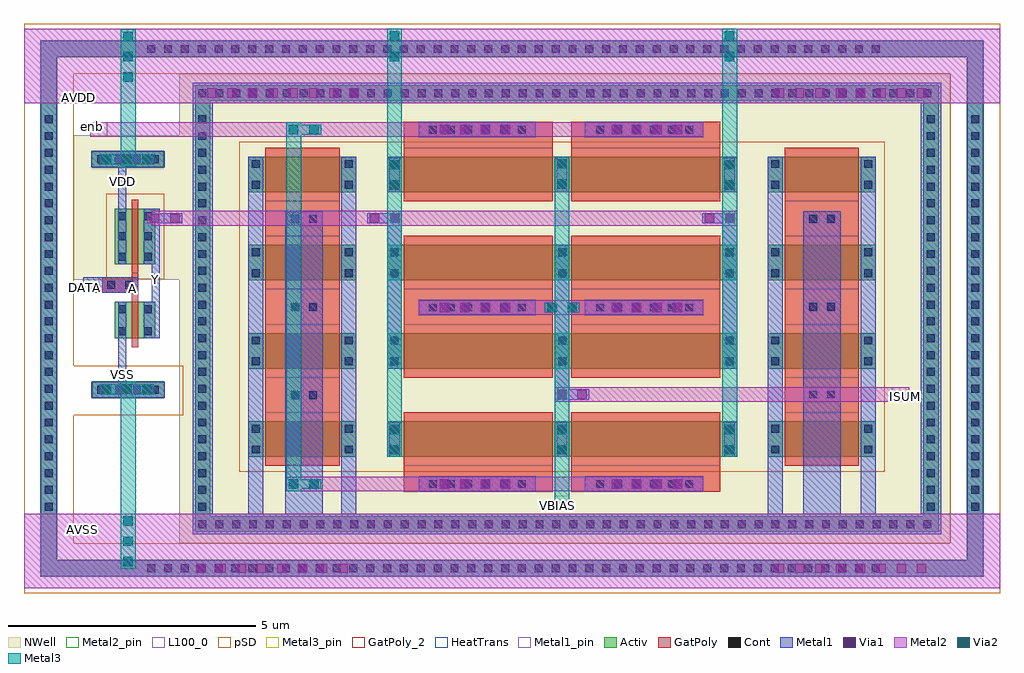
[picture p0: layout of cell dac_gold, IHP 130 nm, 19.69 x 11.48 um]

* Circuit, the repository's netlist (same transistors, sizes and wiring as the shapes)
** sch_path: /home/designer/shared/BASIC/current_generator/analog/DAC/schematics/dac_gold.sch
.subckt dac_gold AVDD AVSS VBIAS enb DATA ISUM
*.PININFO AVDD:B AVSS:B VBIAS:B enb:B DATA:B ISUM:B
MM1 ISUM VBIAS VS_cm AVDD sg13_lv_pmos w=0.72u l=3u ng=1 m=4
MM2 VBIAS enb AVDD AVDD sg13_lv_pmos w=0.72u l=3u ng=1 m=4
MM3 AVDD AVDD AVDD AVDD sg13_lv_pmos w=0.72u l=1.5u ng=1 m=8
x20 DATA VS_cm AVDD AVSS inverter
.ends

* expanding   symbol:  inverter.sym # of pins=4
** sym_path: /home/designer/shared/BASIC/current_generator/analog/DAC/schematics/inverter.sym
** sch_path: /home/designer/shared/BASIC/current_generator/analog/DAC/schematics/inverter.sch
.subckt inverter A Y VDD VSS
*.PININFO Y:O A:I VDD:B VSS:B
MMN0 Y A VSS VSS sg13_lv_nmos w=740.00n l=130.00n ng=1
MMP0 Y A VDD VDD sg13_lv_pmos w=1.12u l=130.00n ng=1
.ends

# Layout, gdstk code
import gdstk
lib = gdstk.Library(unit=1e-6, precision=1e-09)
def R(c, l, rs):  # rectangles x0, y0, x1, y1
    for r in rs: c.add(gdstk.rectangle(r[:2], r[2:], *l))
def A(c, l, x, y, w, h, nx, ny, dx, dy):  # array of equal rectangles
    R(c, l, [(x+i*dx, y+j*dy, x+i*dx+w, y+j*dy+h) for i in range(nx) for j in range(ny)])
def P(c, l, *ps):  # polygons
    for p in ps: c.add(gdstk.Polygon(p, *l))
Activ = (1, 0)
GatPoly = (5, 0)
GatPoly_2 = (5, 2)
Cont = (6, 0)
Metal1 = (8, 0)
Metal1_pin = (8, 2)
Metal2 = (10, 0)
Metal2_pin = (10, 2)
pSD = (14, 0)
Via1 = (19, 0)
Via2 = (29, 0)
Metal3 = (30, 0)
Metal3_pin = (30, 2)
NWell = (31, 0)
HeatTrans = (51, 0)
L100_0 = (100, 0)

pmos = lib.new_cell('pmos')
R(pmos, Activ, [(0,0,0.3,0.3), (0,0,0.81,1.12), (0.51,0,0.81,0.3)])
R(pmos, GatPoly, [(0.34,-0.18,0.47,1.3), (0.34,-0.18,0.47,1.3)])
A(pmos, Cont, 0.07, 0.07, 0.16, 0.16, 1, 3, 0, 0.41)
A(pmos, Cont, 0.58, 0.07, 0.16, 0.16, 1, 3, 0, 0.41)
R(pmos, Metal1, [(0.07,0,0.23,1.12), (0.07,0,0.23,1.12), (0.58,0,0.74,1.12), (0.58,0,0.74,1.12)])
R(pmos, pSD, [(-0.18,-0.3,0.99,1.42)])
R(pmos, NWell, [(-0.31,-0.31,1.12,1.43)])
R(pmos, HeatTrans, [(0.34,-0.18,0.47,1.3)])
pmos.add(gdstk.Label('pmos', (0.405,0.56), layer=63, texttype=0))
pmos.add(gdstk.Label('pmos', (0.405,0.56), layer=51, texttype=0))

nmos = lib.new_cell('nmos')
R(nmos, Activ, [(0,0,0.3,0.3), (0,0,0.81,0.74), (0.51,0,0.81,0.3)])
R(nmos, GatPoly, [(0.34,-0.18,0.47,0.92)])
R(nmos, GatPoly_2, [(0.34,-0.18,0.47,0.92)])
R(nmos, Cont, [(0.07,0.07,0.23,0.23), (0.58,0.07,0.74,0.23), (0.07,0.51,0.23,0.67), (0.58,0.51,0.74,0.67)])
R(nmos, Metal1, [(0.07,0,0.23,0.74), (0.58,0,0.74,0.74)])
R(nmos, Metal1_pin, [(0.07,0,0.23,0.74), (0.58,0,0.74,0.74)])
R(nmos, HeatTrans, [(0.34,-0.18,0.47,0.92)])
nmos.add(gdstk.Label('nmos', (0.405,0.37), layer=63, texttype=0))
nmos.add(gdstk.Label('nmos', (0.405,0.37), layer=51, texttype=0))

pmos_2 = lib.new_cell('pmos$2')
R(pmos_2, Activ, [(0,0,0.3,0.3), (0,0,3.68,0.72), (3.38,0,3.68,0.3)])
R(pmos_2, GatPoly, [(0.34,-0.18,3.34,0.9), (0.34,-0.18,3.34,0.9)])
R(pmos_2, Cont, [(0.07,0.07,0.23,0.23), (3.45,0.07,3.61,0.23), (0.07,0.49,0.23,0.65), (3.45,0.49,3.61,0.65)])
R(pmos_2, Metal1, [(0.07,0,0.23,0.72), (0.07,0,0.23,0.72), (3.45,0,3.61,0.72), (3.45,0,3.61,0.72)])
R(pmos_2, pSD, [(-0.18,-0.3,3.86,1.02)])
R(pmos_2, NWell, [(-0.31,-0.31,3.99,1.03)])
R(pmos_2, HeatTrans, [(0.34,-0.18,3.34,0.9)])
pmos_2.add(gdstk.Label('pmos', (1.84,0.36), layer=63, texttype=0))
pmos_2.add(gdstk.Label('pmos', (1.84,0.36), layer=51, texttype=0))

via_stack_1 = lib.new_cell('via_stack$1')
R(via_stack_1, Metal1, [(-0.76,-0.105,0.76,0.105)])
R(via_stack_1, Metal2, [(-0.76,-0.1,0.76,0.1)])
A(via_stack_1, Via1, -0.71, -0.095, 0.19, 0.19, 4, 1, 0.41, 0)

pmos_3 = lib.new_cell('pmos$3')
R(pmos_3, Activ, [(0,0,0.3,0.3), (0,0,2.18,0.72), (1.88,0,2.18,0.3)])
R(pmos_3, GatPoly, [(0.34,-0.18,1.84,0.9), (0.34,-0.18,1.84,0.9)])
R(pmos_3, Cont, [(0.07,0.07,0.23,0.23), (1.95,0.07,2.11,0.23), (0.07,0.49,0.23,0.65), (1.95,0.49,2.11,0.65)])
R(pmos_3, Metal1, [(0.07,0,0.23,0.72), (0.07,0,0.23,0.72), (1.95,0,2.11,0.72), (1.95,0,2.11,0.72)])
R(pmos_3, pSD, [(-0.18,-0.3,2.36,1.02)])
R(pmos_3, NWell, [(-0.31,-0.31,2.49,1.03)])
R(pmos_3, HeatTrans, [(0.34,-0.18,1.84,0.9)])
pmos_3.add(gdstk.Label('pmos', (1.09,0.36), layer=63, texttype=0))
pmos_3.add(gdstk.Label('pmos', (1.09,0.36), layer=51, texttype=0))

via_stack_2 = lib.new_cell('via_stack$2')
R(via_stack_2, Metal1, [(-0.35,-0.105,0.35,0.105)])
R(via_stack_2, Metal2, [(-0.35,-0.1,0.35,0.1)])
R(via_stack_2, Via1, [(-0.3,-0.095,-0.11,0.095), (0.11,-0.095,0.3,0.095)])

via_stack_3 = lib.new_cell('via_stack$3')
R(via_stack_3, Metal2, [(-0.35,-0.1,0.35,0.1)])
R(via_stack_3, Via2, [(-0.3,-0.095,-0.11,0.095), (0.11,-0.095,0.3,0.095)])
R(via_stack_3, Metal3, [(-0.35,-0.1,0.35,0.1)])

via_stack = lib.new_cell('via_stack')
R(via_stack, Metal1, [(-0.105,-0.35,0.105,0.35)])
R(via_stack, Metal2, [(-0.1,-0.35,0.1,0.35)])
R(via_stack, Via1, [(-0.095,-0.3,0.095,-0.11), (-0.095,0.11,0.095,0.3)])
R(via_stack, Via2, [(-0.095,-0.3,0.095,-0.11), (-0.095,0.11,0.095,0.3)])
R(via_stack, Metal3, [(-0.1,-0.35,0.1,0.35)])

via_stack_4 = lib.new_cell('via_stack$4')
R(via_stack_4, Metal2, [(-0.1,-0.35,0.1,0.35)])
R(via_stack_4, Via2, [(-0.095,-0.3,0.095,-0.11), (-0.095,0.11,0.095,0.3)])
R(via_stack_4, Metal3, [(-0.1,-0.35,0.1,0.35)])

via_stack_5 = lib.new_cell('via_stack$5')
R(via_stack_5, Metal1, [(-1.58,-0.105,1.58,0.105)])
R(via_stack_5, Metal2, [(-1.58,-0.1,1.58,0.1)])
A(via_stack_5, Via1, -1.53, -0.095, 0.19, 0.19, 8, 1, 0.41, 0)

guard_ring = lib.new_cell('GUARD_RING')
P(guard_ring, Activ, [(0,0),(0,8.69),(0.31,8.69),(0.31,0.31),(14.69,0.31),(14.69,8.69),(0,8.69),(0,9),(15,9),(15,0)])
A(guard_ring, Cont, 0.07, 0.07, 0.16, 0.16, 44, 2, 0.34, 8.69)
A(guard_ring, Cont, 0.07, 0.42, 0.16, 0.16, 1, 24, 0, 0.34)
A(guard_ring, Cont, 14.76, 0.42, 0.16, 0.16, 1, 24, 0, 0.34)
P(guard_ring, Metal1, [(-0.05,-0.05),(-0.05,8.64),(0.36,8.64),(0.36,0.36),(14.64,0.36),(14.64,8.64),(-0.05,8.64),(-0.05,9.05),(15.05,9.05),(15.05,-0.05)])
P(guard_ring, NWell, [(-0.24,-0.24),(-0.24,8.45),(0.55,8.45),(0.55,0.55),(14.45,0.55),(14.45,8.45),(-0.24,8.45),(-0.24,9.24),(15.24,9.24),(15.24,-0.24)])

via_stack_7 = lib.new_cell('via_stack$7')
R(via_stack_7, Metal2, [(-0.1,-0.555,0.1,0.555)])
A(via_stack_7, Via2, -0.095, -0.505, 0.19, 0.19, 1, 3, 0, 0.41)
R(via_stack_7, Metal3, [(-0.1,-0.555,0.1,0.555)])

via_stack_8 = lib.new_cell('via_stack$8')
R(via_stack_8, Metal1, [(-0.555,-0.105,0.555,0.105)])
R(via_stack_8, Metal2, [(-0.555,-0.1,0.555,0.1)])
A(via_stack_8, Via1, -0.505, -0.095, 0.19, 0.19, 3, 1, 0.41, 0)
A(via_stack_8, Via2, -0.505, -0.095, 0.19, 0.19, 3, 1, 0.41, 0)
R(via_stack_8, Metal3, [(-0.555,-0.1,0.555,0.1)])

dac_gold = lib.new_cell('dac_gold')
R(dac_gold, Activ, [(3.97,-1.71,5.42,-1.36), (3.965,2.94,5.415,3.29)])
A(dac_gold, GatPoly, 7.46, -1.99, 1.5, 0.7, 1, 3, 0, 1.78)
A(dac_gold, GatPoly, 17.94, -1.99, 1.5, 0.7, 1, 3, 0, 1.78)
A(dac_gold, GatPoly, 7.88, -1.8, 0.73, 0.31, 1, 3, 0, 1.78)
R(dac_gold, GatPoly, [(10.26,-3.59,13.26,-3.07), (10.56,-3.59,12.92,-3.28), (13.64,-3.59,16.64,-3.07), (13.91,-3.59,16.3,-3.28), (18.33,-1.785,19.06,-1.475), (10.26,-0.21,13.26,0.49), (13.64,-0.21,16.64,0.49), (10.56,-0.03,12.92,0.28), (13.91,-0.03,16.3,0.28), (18.33,-0.015,19.06,0.295), (4.17,0.425,4.9,0.735), (18.33,1.76,19.06,2.07), (10.26,3.35,13.26,3.87), (13.64,3.35,16.64,3.87), (10.56,3.56,12.92,3.87), (13.91,3.56,16.3,3.87)])
R(dac_gold, GatPoly_2, [(4.77,-0.68,4.9,2.3)])
A(dac_gold, Cont, 5.08, -5.215, 0.16, 0.16, 44, 2, 0.34, 10.475)
A(dac_gold, Cont, 3.015, -3.975, 0.16, 0.16, 1, 24, 0, 0.34)
A(dac_gold, Cont, 21.71, -3.975, 0.16, 0.16, 1, 24, 0, 0.34)
A(dac_gold, Cont, 10.76, -3.515, 0.16, 0.16, 6, 2, 0.36, 3.56)
A(dac_gold, Cont, 14.14, -3.515, 0.16, 0.16, 6, 2, 0.36, 3.56)
A(dac_gold, Cont, 7.985, -1.725, 0.16, 0.16, 1, 3, 0, 1.78)
A(dac_gold, Cont, 8.345, -1.725, 0.16, 0.16, 1, 3, 0, 1.78)
A(dac_gold, Cont, 4.075, -1.615, 0.16, 0.16, 4, 1, 0.36, 0)
A(dac_gold, Cont, 4.07, 3.035, 0.16, 0.16, 4, 1, 0.36, 0)
A(dac_gold, Cont, 10.76, 3.635, 0.16, 0.16, 6, 1, 0.36, 0)
A(dac_gold, Cont, 14.14, 3.635, 0.16, 0.16, 6, 1, 0.36, 0)
R(dac_gold, Cont, [(18.435,-1.71,18.595,-1.55), (18.795,-1.71,18.955,-1.55), (18.435,0.06,18.595,0.22), (18.795,0.06,18.955,0.22), (4.275,0.5,4.435,0.66), (4.635,0.5,4.795,0.66), (18.435,1.835,18.595,1.995), (18.795,1.835,18.955,1.995)])
A(dac_gold, Metal1, 7.88, -1.8, 0.73, 0.31, 1, 3, 0, 1.78)
R(dac_gold, Metal1, [(10.56,-3.59,12.92,-3.28), (13.91,-3.59,16.3,-3.28), (18.33,-1.785,19.06,-1.475), (3.955,-1.695,5.435,-1.375), (5.17,-0.5,5.33,2.12), (10.56,-0.03,12.92,0.28), (13.91,-0.03,16.3,0.28), (18.33,-0.015,19.06,0.295), (4.17,0.425,4.9,0.735), (18.33,1.76,19.06,2.07), (4.5,2.88,4.66,3.275), (3.95,2.955,5.43,3.275), (10.56,3.56,12.92,3.87), (13.91,3.56,16.3,3.87)])
R(dac_gold, Metal1_pin, [(4.5,-1.695,4.66,0.24), (5.17,-0.5,5.33,2.12), (5.17,-0.5,5.33,2.12), (3.79,0.425,4.11,0.735), (4.5,1,4.66,2.885)])
A(dac_gold, Metal2, 9.92, -2.89, 0.3, 0.7, 3, 2, 3.38, 5.34)
R(dac_gold, Metal2_pin, [(2.595,-5.535,22.285,-4.035), (20.105,-1.78,20.455,-1.48), (3.93,3.565,4.275,3.865), (2.595,4.245,22.285,5.745)])
R(dac_gold, pSD, [(6.94,-3.19,19.96,3.47), (3.595,-2.045,3.6,-1.045), (3.6,-2.045,5.81,-1.045)])
R(dac_gold, Metal3_pin, [(13.3,-3.94,13.6,-3.675)])
R(dac_gold, NWell, [(5.725,-4.635,6.05,4.845), (5.805,-4.635,21.285,4.845), (3.595,0.69,5.805,3.605)])
R(dac_gold, L100_0, [(4.499,-0.431,4.661,-0.269), (4.499,-0.431,4.661,-0.269), (5.009,-0.431,5.171,-0.269), (5.009,-0.431,5.171,-0.269), (4.499,0.009,4.661,0.171), (4.499,0.009,4.661,0.171), (5.009,0.009,5.171,0.171), (5.009,0.009,5.171,0.171), (4.499,1.069,4.661,1.231), (4.499,1.069,4.661,1.231), (5.009,1.069,5.171,1.231), (5.009,1.069,5.171,1.231), (4.499,1.479,4.661,1.641), (4.499,1.479,4.661,1.641), (5.009,1.479,5.171,1.641), (5.009,1.479,5.171,1.641), (4.499,1.889,4.661,2.051), (4.499,1.889,4.661,2.051), (5.009,1.889,5.171,2.051), (5.009,1.889,5.171,2.051)])
dac_gold.add(gdstk.FlexPath([(4.9,0.58),(3.79,0.58)], 0.31, ends="flush", simple_path=True, layer=8, datatype=0))  # Metal1
dac_gold.add(gdstk.FlexPath([(4.58,0.24),(4.58,-1.695)], 0.16, ends="flush", simple_path=True, layer=8, datatype=0))  # Metal1
dac_gold.add(gdstk.FlexPath([(4.58,2.885),(4.58,2.12)], 0.16, ends="flush", simple_path=True, layer=8, datatype=0))  # Metal1
dac_gold.add(gdstk.FlexPath([(16.83,-1.11),(16.83,2.075)], 0.3, ends="flush", simple_path=True, layer=8, datatype=0))  # Metal1
dac_gold.add(gdstk.FlexPath([(10.07,-1.11),(10.07,2.075)], 0.3, ends="flush", simple_path=True, layer=8, datatype=0))  # Metal1
dac_gold.add(gdstk.FlexPath([(13.45,-1.78),(13.45,1.39)], 0.3, ends="flush", simple_path=True, layer=8, datatype=0))  # Metal1
dac_gold.add(gdstk.FlexPath([(19.63,3.17),(19.63,-4.445)], 0.3, ends="flush", simple_path=True, layer=8, datatype=0))  # Metal1
dac_gold.add(gdstk.FlexPath([(17.75,3.17),(17.75,-4.445)], 0.3, ends="flush", simple_path=True, layer=8, datatype=0))  # Metal1
dac_gold.add(gdstk.FlexPath([(9.15,3.17),(9.15,-4.445)], 0.3, ends="flush", simple_path=True, layer=8, datatype=0))  # Metal1
dac_gold.add(gdstk.FlexPath([(7.27,3.17),(7.27,-4.445)], 0.3, ends="flush", simple_path=True, layer=8, datatype=0))  # Metal1
dac_gold.add(gdstk.FlexPath([(8.245,-4.445),(8.245,2.07)], 0.75, ends="flush", simple_path=True, layer=8, datatype=0))  # Metal1
dac_gold.add(gdstk.FlexPath([(18.695,-4.445),(18.695,2.07)], 0.75, ends="flush", simple_path=True, layer=8, datatype=0))  # Metal1
dac_gold.add(gdstk.FlexPath([(21.785,-5.135),(21.785,5.345),(3.095,5.345),(3.095,-5.135),(21.945,-5.135)], 0.32, ends="flush", simple_path=True, layer=8, datatype=0))  # Metal1
dac_gold.add(gdstk.FlexPath([(21.785,-5.135),(21.785,5.345),(3.095,5.345),(3.095,-5.135),(21.96,-5.135)], 0.35, ends="flush", simple_path=True, layer=1, datatype=0))  # Activ
dac_gold.add(gdstk.FlexPath([(4.835,0.42),(4.835,0.825)], 0.13, ends="flush", simple_path=True, layer=5, datatype=0))  # GatPoly
dac_gold.add(gdstk.FlexPath([(21.785,-5.635),(21.785,5.345),(3.095,5.345),(3.095,-5.135),(22.285,-5.135)], 1, ends="flush", simple_path=True, layer=14, datatype=0))  # pSD
dac_gold.add(gdstk.FlexPath([(13.3,-1.63),(20.455,-1.63)], 0.3, ends="flush", simple_path=True, layer=10, datatype=0))  # Metal2
dac_gold.add(gdstk.FlexPath([(3.93,3.715),(16.3,3.715)], 0.3, ends="flush", simple_path=True, layer=10, datatype=0))  # Metal2
dac_gold.add(gdstk.FlexPath([(16.3,0.125),(10.56,0.125)], 0.3, ends="flush", simple_path=True, layer=10, datatype=0))  # Metal2
dac_gold.add(gdstk.FlexPath([(5.17,1.925),(16.98,1.925)], 0.3, ends="flush", simple_path=True, layer=10, datatype=0))  # Metal2
dac_gold.add(gdstk.FlexPath([(2.595,4.995),(22.285,4.995)], 1.5, ends="flush", simple_path=True, layer=10, datatype=0))  # Metal2
dac_gold.add(gdstk.FlexPath([(7.89,-3.435),(16.3,-3.435)], 0.3, ends="flush", simple_path=True, layer=10, datatype=0))  # Metal2
dac_gold.add(gdstk.FlexPath([(2.595,-4.785),(22.285,-4.785)], 1.5, ends="flush", simple_path=True, layer=10, datatype=0))  # Metal2
dac_gold.add(gdstk.FlexPath([(13.45,-3.94),(13.45,3.17)], 0.3, ends="flush", simple_path=True, layer=30, datatype=0))  # Metal3
dac_gold.add(gdstk.FlexPath([(10.07,-2.89),(10.07,5.745)], 0.3, ends="flush", simple_path=True, layer=30, datatype=0))  # Metal3
dac_gold.add(gdstk.FlexPath([(16.83,-2.89),(16.83,5.745)], 0.3, ends="flush", simple_path=True, layer=30, datatype=0))  # Metal3
dac_gold.add(gdstk.FlexPath([(8.04,-3.58),(8.04,3.86)], 0.3, ends="flush", simple_path=True, layer=30, datatype=0))  # Metal3
dac_gold.add(gdstk.FlexPath([(4.695,2.97),(4.695,5.74)], 0.3, ends="flush", simple_path=True, layer=30, datatype=0))  # Metal3
dac_gold.add(gdstk.FlexPath([(4.695,-5.145),(4.695,-1.375)], 0.3, ends="flush", simple_path=True, layer=30, datatype=0))  # Metal3
dac_gold.add(gdstk.Reference(pmos, (4.43,1)))
dac_gold.add(gdstk.Reference(nmos, (4.43,-0.5)))
dac_gold.add(gdstk.Reference(pmos_2, (9.92,0.67)))
dac_gold.add(gdstk.Reference(pmos_2, (13.3,0.67)))
dac_gold.add(gdstk.Reference(pmos_2, (9.92,-1.11)))
dac_gold.add(gdstk.Reference(pmos_2, (13.3,-1.11)))
dac_gold.add(gdstk.Reference(via_stack_1, (15.16,0.125)))
dac_gold.add(gdstk.Reference(pmos_3, (7.12,2.45)))
dac_gold.add(gdstk.Reference(pmos_2, (9.92,2.45)))
dac_gold.add(gdstk.Reference(pmos_2, (13.3,2.45)))
dac_gold.add(gdstk.Reference(pmos_2, (9.92,-2.89)))
dac_gold.add(gdstk.Reference(pmos_2, (13.3,-2.89)))
dac_gold.add(gdstk.Reference(pmos_3, (17.6,2.45)))
dac_gold.add(gdstk.Reference(via_stack_1, (11.695,0.125)))
dac_gold.add(gdstk.Reference(pmos_3, (17.6,0.67)))
dac_gold.add(gdstk.Reference(via_stack_2, (13.65,-1.63)))
dac_gold.add(gdstk.Reference(pmos_3, (17.6,-1.11)))
dac_gold.add(gdstk.Reference(pmos_3, (17.6,-2.89)))
dac_gold.add(gdstk.Reference(via_stack_2, (9.87,1.925)))
dac_gold.add(gdstk.Reference(pmos_3, (7.12,0.67)))
dac_gold.add(gdstk.Reference(pmos_3, (7.12,-1.11)))
dac_gold.add(gdstk.Reference(pmos_3, (7.12,-2.89)))
dac_gold.add(gdstk.Reference(via_stack_2, (16.63,1.925)))
dac_gold.add(gdstk.Reference(via_stack_3, (13.45,0.125)))
dac_gold.add(gdstk.Reference(via_stack, (13.45,2.82)))
dac_gold.add(gdstk.Reference(via_stack, (13.45,-2.54)))
dac_gold.add(gdstk.Reference(via_stack, (16.83,-2.54)))
dac_gold.add(gdstk.Reference(via_stack, (16.83,2.8)))
dac_gold.add(gdstk.Reference(via_stack, (10.07,2.8)))
dac_gold.add(gdstk.Reference(via_stack, (10.07,-2.54)))
dac_gold.add(gdstk.Reference(via_stack_1, (15.16,-3.435)))
dac_gold.add(gdstk.Reference(via_stack_1, (11.695,-3.435)))
dac_gold.add(gdstk.Reference(via_stack_1, (15.16,3.715)))
dac_gold.add(gdstk.Reference(via_stack_1, (11.695,3.715)))
dac_gold.add(gdstk.Reference(via_stack_2, (5.435,1.925)))
dac_gold.add(gdstk.Reference(via_stack_3, (8.24,-3.435)))
dac_gold.add(gdstk.Reference(via_stack_3, (8.24,3.715)))
dac_gold.add(gdstk.Reference(via_stack_4, (16.83,5.395)))
dac_gold.add(gdstk.Reference(via_stack_4, (10.07,5.395)))
dac_gold.add(gdstk.Reference(via_stack_5, (19.27,4.45)))
dac_gold.add(gdstk.Reference(via_stack_5, (7.82,4.45)))
dac_gold.add(gdstk.Reference(guard_ring, (6.045,-4.395)))
dac_gold.add(gdstk.Reference(via_stack_7, (4.695,5.185)))
dac_gold.add(gdstk.Reference(via_stack_8, (4.67,3.115)))
dac_gold.add(gdstk.Reference(via_stack_7, (4.695,-4.59)))
dac_gold.add(gdstk.Reference(via_stack_8, (4.67,-1.52)))
dac_gold.add(gdstk.Reference(via_stack_5, (19.27,-5.135)))
dac_gold.add(gdstk.Reference(via_stack_5, (7.595,-5.135)))
dac_gold.add(gdstk.Label('Y', (5.25,0.7), layer=8, texttype=2))
dac_gold.add(gdstk.Label('VDD', (4.58,2.665), layer=8, texttype=2))
dac_gold.add(gdstk.Label('VSS', (4.58,-1.225), layer=8, texttype=2))
dac_gold.add(gdstk.Label('A', (4.785,0.5), layer=5, texttype=2))
dac_gold.add(gdstk.Label('AVDD', (3.7,4.365), layer=10, texttype=25))
dac_gold.add(gdstk.Label('enb', (3.97,3.775), layer=10, texttype=25))
dac_gold.add(gdstk.Label('AVSS', (3.785,-4.345), layer=10, texttype=25))
dac_gold.add(gdstk.Label('ISUM', (20.385,-1.665), layer=10, texttype=25))
dac_gold.add(gdstk.Label('DATA', (3.81,0.535), layer=8, texttype=25))
dac_gold.add(gdstk.Label('VBIAS', (13.35,-3.865), layer=30, texttype=25))

lib.write_gds('dac_gold.gds')
